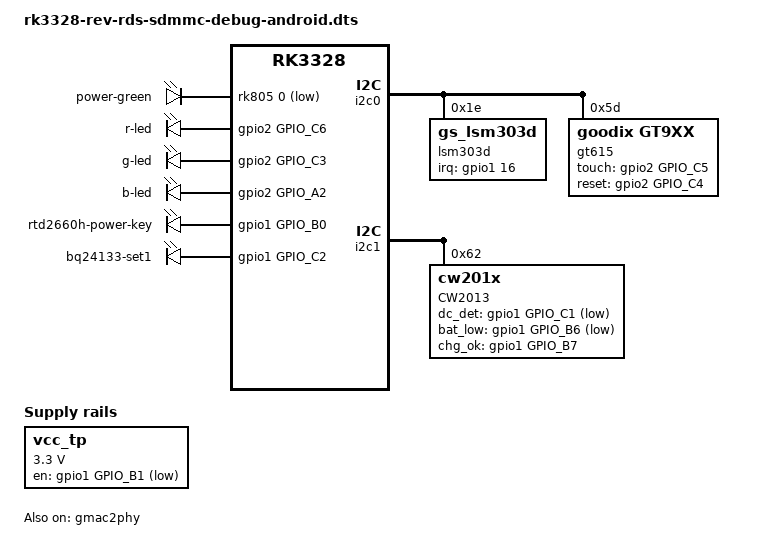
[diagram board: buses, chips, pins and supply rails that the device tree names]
/*
 * Copyright (c) 2016 Fuzhou Rockchip Electronics Co., Ltd
 *
 * This file is dual-licensed: you can use it either under the terms
 * of the GPL or the X11 license, at your option. Note that this dual
 * licensing only applies to this file, and not this project as a
 * whole.
 *
 *  a) This library is free software; you can redistribute it and/or
 *     modify it under the terms of the GNU General Public License as
 *     published by the Free Software Foundation; either version 2 of the
 *     License, or (at your option) any later version.
 *
 *     This library is distributed in the hope that it will be useful,
 *     but WITHOUT ANY WARRANTY; without even the implied warranty of
 *     MERCHANTABILITY or FITNESS FOR A PARTICULAR PURPOSE.  See the
 *     GNU General Public License for more details.
 *
 * Or, alternatively,
 *
 *  b) Permission is hereby granted, free of charge, to any person
 *     obtaining a copy of this software and associated documentation
 *     files (the "Software"), to deal in the Software without
 *     restriction, including without limitation the rights to use,
 *     copy, modify, merge, publish, distribute, sublicense, and/or
 *     sell copies of the Software, and to permit persons to whom the
 *     Software is furnished to do so, subject to the following
 *     conditions:
 *
 *     The above copyright notice and this permission notice shall be
 *     included in all copies or substantial portions of the Software.
 *
 *     THE SOFTWARE IS PROVIDED "AS IS", WITHOUT WARRANTY OF ANY KIND,
 *     EXPRESS OR IMPLIED, INCLUDING BUT NOT LIMITED TO THE WARRANTIES
 *     OF MERCHANTABILITY, FITNESS FOR A PARTICULAR PURPOSE AND
 *     NONINFRINGEMENT. IN NO EVENT SHALL THE AUTHORS OR COPYRIGHT
 *     HOLDERS BE LIABLE FOR ANY CLAIM, DAMAGES OR OTHER LIABILITY,
 *     WHETHER IN AN ACTION OF CONTRACT, TORT OR OTHERWISE, ARISING
 *     FROM, OUT OF OR IN CONNECTION WITH THE SOFTWARE OR THE USE OR
 *     OTHER DEALINGS IN THE SOFTWARE.
 */

/dts-v1/;

#include "rk3328.dtsi"
#include "rk3328-evb.dtsi"
#include "rk-stb-keymap.dtsi"

/ {
	leds {
		compatible = "gpio-leds";
		pinctrl-names = "default";
		pinctrl-0 = <&rtd2660h_pwr_key>,<&change_ctrl_gpio>;

		power-green {
			gpios = <&rk805 0 GPIO_ACTIVE_LOW>;
			linux,default-trigger = "none";
			default-state = "on";
			mode = <0x23>;
		};

		r-led {
			gpios = <&gpio2 GPIO_C6 GPIO_ACTIVE_HIGH>;
			linux,default-trigger = "backlight";
			default-state = "on";
		};

		g-led {
			gpios = <&gpio2 GPIO_C3 GPIO_ACTIVE_HIGH>;
			linux,default-trigger = "backlight";
			default-state = "on";
		};

		b-led {
			gpios = <&gpio2 GPIO_A2 GPIO_ACTIVE_HIGH>;
			linux,default-trigger = "backlight";
			default-state = "on";
		};
		/*for suspend*/
		rtd2660h-power-key {
			gpios = <&gpio1 GPIO_B0 GPIO_ACTIVE_HIGH>;
			linux,default-trigger = "backlight";
			default-state = "on";
		};
		/*for suspend*/
		bq24133-set1 {
			gpios = <&gpio1 GPIO_C2 GPIO_ACTIVE_HIGH>;
			linux,default-trigger = "backlight";
			default-state = "on";
		};

	};

	vcc_tp: vcc-tp {
		compatible = "regulator-fixed";
		enable-active-low;
		gpio = <&gpio1 GPIO_B1 GPIO_ACTIVE_LOW>; // this gpio is not used,for kernel debug error message
		regulator-name = "vcc_tp";
		pinctrl-names = "default";
		pinctrl-0 = <&tp_pwr_ctrl>;
		regulator-min-microvolt = <3300000>;
		regulator-max-microvolt = <3300000>;
		regulator-boot-on;
	};

	fiq-debugger {
		pinctrl-names = "default";
		pinctrl-0 = <&uart2m0_xfer>;
	};
};

&rk805 {
    rtc {
        status = "okay";
    };
};

/*for blue led control*/
&pwm3 {
	status = "disabled";
};

&clk_core_dvfs_table {
	operating-points = <
		/* KHz	uV */
		408000	950000
		600000	950000
		816000	1000000
		1008000	1100000
		1200000	1225000
		1296000	1300000
		1392000	1350000
		1512000	1350000
		>;
	status = "okay";
};

&gmac2phy {
	/delete-property/ pinctrl-names;
	/delete-property/ pinctrl-0;  //for i2c0 touchpanel
	link-gpio = <&gpio2 GPIO_B7 GPIO_ACTIVE_HIGH>;
	led-gpio = <&gpio1 GPIO_C3 GPIO_ACTIVE_LOW>;
	status = "okay";
};

&wireless_bluetooth {
	/delete-property/ BT,wake_gpio;   //for dc_det
	/delete-property/ BT,power_gpio;	//GSEN_INT
};
&sdio {
	status = "disabled";
};
&i2c0{
	status = "okay";
	//pinctrl-names = "default","sleep";
//	pinctrl-0 = <&i2c0_xfer>;
//	pinctrl-1 = <&i2c0_sleep_mode>;

	lsm303d:lsm303d@1e {
		compatible = "gs_lsm303d";
		reg = <0x1e>;
		type = <SENSOR_TYPE_ACCEL>;
		pinctrl-names = "default";
		pinctrl-0 = <&gpio1_c0>,<&gpio2_c7>;
		irq-gpio = <&gpio1 16 IRQ_TYPE_LEVEL_LOW>;
		irq_enable = <1>;
		poll_delay_ms = <30>;
		layout = <1>;
	};

	gt615: gt615@5d {		// 0x28/0x29 or 0xba/bb
		status = "okay";
		compatible = "goodix,gt9xx";
		reg = <0x5d>;
		touch-gpio = <&gpio2 GPIO_C5 IRQ_TYPE_LEVEL_LOW>;
		reset-gpio = <&gpio2 GPIO_C4 GPIO_ACTIVE_HIGH>;
		max-x = <800>;
		max-y = <480>;
		tp-size = <911>;			// 89 101 911
	};
};

&rockchi_hdmi_i2s {
	status = "disabled";
};

&codec {
//	compatible = "rockchip,rk322x-codec";
	spk_ctl_io = <&gpio1 GPIO_B5 GPIO_ACTIVE_HIGH>;
};

&i2c1 {
	status = "okay";

	CW2013@62 {
		compatible = "cw201x";
		reg = <0x62>;

		dc_det_gpio = <&gpio1 GPIO_C1 GPIO_ACTIVE_LOW>;
		bat_low_gpio = <&gpio1 GPIO_B6 GPIO_ACTIVE_LOW>;
		/*bq24133 LOW when charge in progress. HIGH when charge is complete or in SLEEP mode. Blinking at 0.5 Hz when fault occurs*/
		chg_ok_gpio = <&gpio1 GPIO_B7 GPIO_ACTIVE_HIGH>;
		bat_config_info = <0x15 0x42 0x60 0x59 0x52 0x58 0x4D 0x48 0x48 0x44 0x44 0x46 0x49 0x48 0x32
			0x24 0x20 0x17 0x13 0x0F 0x19 0x3E 0x51 0x45 0x08 0x76 0x0B 0x85 0x0E 0x1C 0x2E 0x3E 0x4D 0x52 0x52
			0x57 0x3D 0x1B 0x6A 0x2D 0x25 0x43 0x52 0x87 0x8F 0x91 0x94 0x52 0x82 0x8C 0x92 0x96 0xFF 0x7B 0xBB
			0xCB 0x2F 0x7D 0x72 0xA5 0xB5 0xC1 0x46 0xAE>;
		is_dc_charge = <1>;
		is_usb_charge = <1>;
		monitor_sec = <5>;
		virtual_power = <0>;
		divider_res1 = <200>;
		divider_res2 = <200>;
		status = "okay";
	};
};

&sdmmc {
	status = "disabled";
};

&uart_dbg {
	status = "disabled";
	pinctrl-0 = <&uart2m0_xfer>;
};

&pinctrl {
	i2c0 {
		i2c0_xfer: i2c0-xfer {
			rockchip,pins =
				<2 GPIO_D0 RK_FUNC_1 &pcfg_pull_none_smt>,
				<2 GPIO_D1 RK_FUNC_1 &pcfg_pull_none_smt>;
		};

		i2c0_sleep_mode: i2c0-sleep-mode {
			rockchip,pins =
				<2 GPIO_D0 RK_FUNC_GPIO &pcfg_pull_none_smt>,
				<2 GPIO_D1 RK_FUNC_GPIO &pcfg_pull_none_smt>;
		};
	};

	gpio {
		gpio1_c0: gpio1-c0 {
			rockchip,pins = <1 GPIO_C0 RK_FUNC_GPIO &pcfg_pull_up>;
		};

		gpio2_c7: gpio2-c7 {
			rockchip,pins = <2 GPIO_C7 RK_FUNC_GPIO &pcfg_pull_up>;
		};
	};

	rtd2660h-power {
		rtd2660h_pwr_key: rtd2660h-pwr-key {
			rockchip,pins = <1 GPIO_B0 RK_FUNC_GPIO &pcfg_pull_none_smt>;
		};
	};

	tp {
		tp_pwr_ctrl: tp-pwr-ctrl {
			rockchip,pins = <1 GPIO_B1 RK_FUNC_GPIO &pcfg_pull_none_smt>;
		};
	};

	bq24133 {
		change_ctrl_gpio: change-ctrl-gpio {
			rockchip,pins = <1 GPIO_C2 RK_FUNC_GPIO &pcfg_pull_none_smt>;
		};
	};

};
